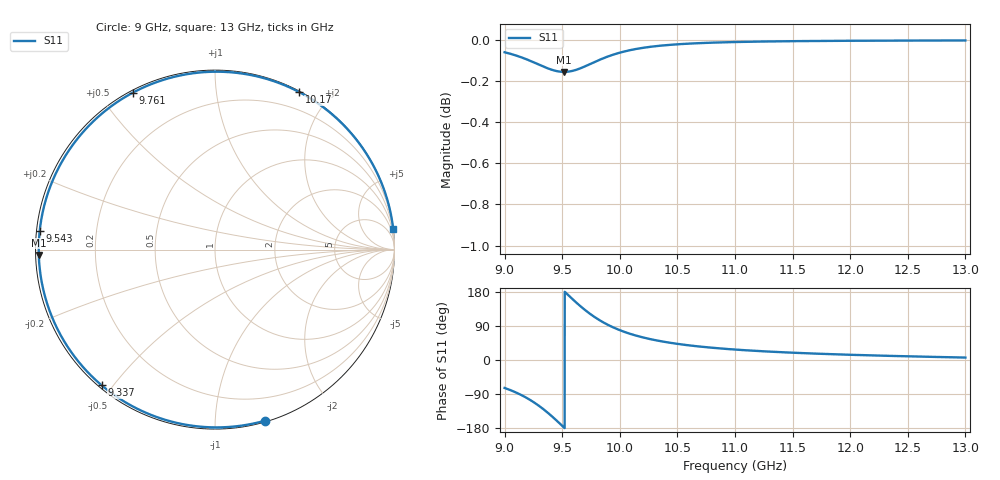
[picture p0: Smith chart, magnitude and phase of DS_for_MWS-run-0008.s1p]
! TOUCHSTONE file generated by CST DESIGN STUDIO
! Date and time: Tue Feb  4 15:55:14 2025
! Project name: C:\Work\MatlabApps\UnitCellOptimizationMatlab\CST\unitcell.cst
! Tree item: Tasks\Sweep1\SPara1\S-Parameters
! Header version: 2024
! Port assignment regex: !\s*Touchstone port\s*([0-9]+)\s*=\s*(CST MWS port|CST DES external port|CST DES block port)\s*(.+)\s* \(\"(.*)\"\)(\s*mode\s*([0-9]+))?.*
! Touchstone port assignment:
! Touchstone port 1 = CST DES external port 1 ("")
# GHz S MA R 50
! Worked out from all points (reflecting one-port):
!   4001 points, 9 GHz to 13 GHz, reference 50 ohm
!   lowest |S11| = -0.2 dB at 9.516 GHz (marker M1), VSWR 111.41, Z = 0.449 - j0.746 ohm
!   phase of S11 starts at -74 deg and turns -280 deg over the sweep
!   S11 on the Smith chart (normalised r, x): 9 GHz: 0.01, -1.33; 9.337 GHz: 0.01, -0.47; 9.543 GHz: 0.01, +0.05; 9.761 GHz: 0.01, +0.61; 10.17 GHz: 0.01, +1.67; 13 GHz: 0, +18
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9  0.9931 -73.8
9.091  0.9914 -84.7
9.196  0.989 -100.8
9.27  0.987 -114.9
9.337  0.9851 -129.8
9.381  0.984 -140.8
9.427  0.983 -153.0
9.464  0.9825 -163.3
9.5  0.9822 -173.7
9.516  0.9822 -178.3
9.543  0.9823 173.9
9.597  0.9829 158.5
9.658  0.9842 142.0
9.709  0.9856 129.3
9.761  0.9871 117.6
9.811  0.9885 107.5
9.866  0.99 97.7
10  0.9928 78.7
10.083  0.9941 69.7
10.172  0.9952 61.8
10.322  0.9965 51.5
10.5  0.9975 42.6
10.722  0.9982 34.6
11  0.9988 27.6
11.5  0.9992 19.2
12  0.9995 13.8
12.5  0.9996 9.7
13  0.9996 6.4
